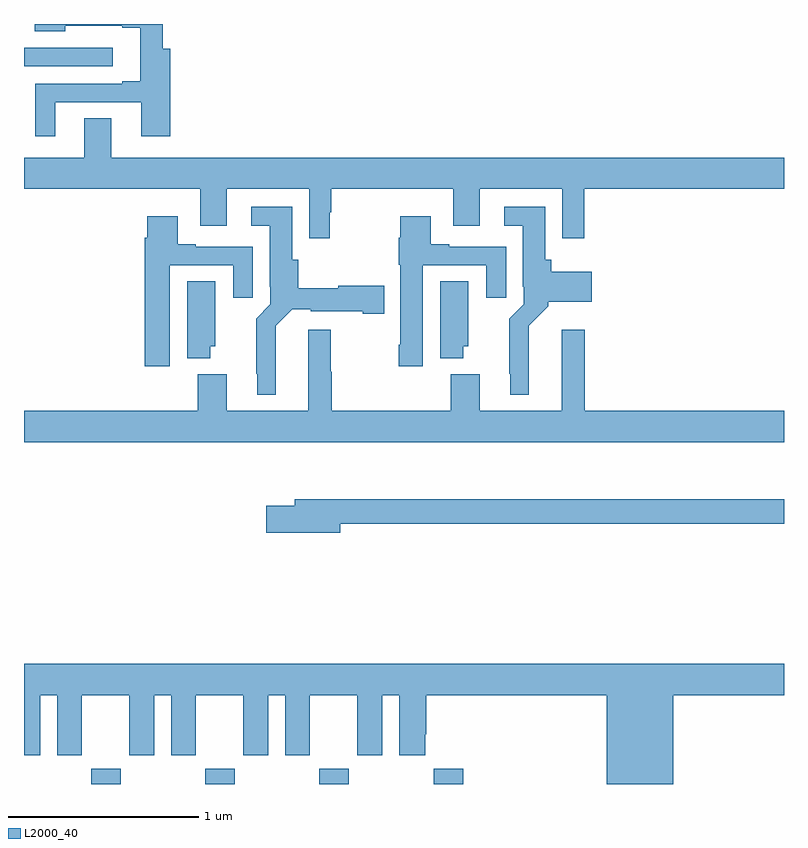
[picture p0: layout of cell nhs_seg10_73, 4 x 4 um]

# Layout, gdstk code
import gdstk
lib = gdstk.Library(unit=1e-6, precision=1e-09)
def R(c, l, rs):  # rectangles x0, y0, x1, y1
    for r in rs: c.add(gdstk.rectangle(r[:2], r[2:], *l))
def A(c, l, x, y, w, h, nx, ny, dx, dy):  # array of equal rectangles
    R(c, l, [(x+i*dx, y+j*dy, x+i*dx+w, y+j*dy+h) for i in range(nx) for j in range(ny)])
def P(c, l, *ps):  # polygons
    for p in ps: c.add(gdstk.Polygon(p, *l))
L2000_40 = (2000, 40)

nhs_seg10_73 = lib.new_cell('nhs_seg10_73')
A(nhs_seg10_73, L2000_40, 113.353, 1314.5, 0.155, 0.08, 3, 1, 0.6, 0)
R(nhs_seg10_73, L2000_40, [(115.157,1314.5,115.313,1314.58), (113,1318.278,113.467,1318.374)])
P(nhs_seg10_73, L2000_40, [(113.164,1318.089),(113.618,1318.089),(113.618,1317.909),(113.771,1317.909),(113.771,1318.369),(113.731,1318.369),(113.731,1318.5),(113.057,1318.5),(113.057,1318.463),(113.217,1318.463),(113.217,1318.491),(113.516,1318.491),(113.516,1318.479),(113.612,1318.479),(113.612,1318.198),(113.516,1318.198),(113.516,1318.185),(113.06,1318.185),(113.06,1317.909),(113.164,1317.909)],
  [(114.61,1317.51),(114.617,1317.51),(114.617,1317.632),(115.259,1317.632),(115.259,1317.438),(115.399,1317.438),(115.399,1317.632),(115.833,1317.632),(115.833,1317.372),(115.949,1317.372),(115.949,1317.632),(117,1317.632),(117,1317.796),(113.458,1317.796),(113.458,1318.004),(113.318,1318.004),(113.318,1317.796),(113,1317.796),(113,1317.632),(113.927,1317.632),(113.927,1317.438),(114.067,1317.438),(114.067,1317.632),(114.501,1317.632),(114.501,1317.372),(114.61,1317.372)],
  [(114.325,1316.912),(114.411,1316.999),(114.51,1316.999),(114.51,1316.987),(114.782,1316.987),(114.782,1316.975),(114.895,1316.975),(114.895,1317.122),(114.654,1317.122),(114.654,1317.109),(114.443,1317.109),(114.443,1317.258),(114.412,1317.258),(114.412,1317.538),(114.195,1317.538),(114.195,1317.437),(114.293,1317.437),(114.293,1317.118),(114.297,1317.118),(114.297,1317.024),(114.223,1316.95),(114.223,1316.659),(114.227,1316.659),(114.227,1316.549),(114.325,1316.549)],
  [(115.657,1316.912),(115.758,1317.014),(115.758,1317.038),(115.987,1317.038),(115.987,1317.196),(115.775,1317.196),(115.775,1317.258),(115.744,1317.258),(115.744,1317.538),(115.527,1317.538),(115.527,1317.437),(115.625,1317.437),(115.625,1317.118),(115.629,1317.118),(115.629,1317.024),(115.555,1316.95),(115.555,1316.659),(115.559,1316.659),(115.559,1316.549),(115.657,1316.549)],
  [(113.767,1317.231),(114.101,1317.231),(114.101,1317.06),(114.205,1317.06),(114.205,1317.327),(113.905,1317.327),(113.905,1317.34),(113.809,1317.34),(113.809,1317.487),(113.648,1317.487),(113.648,1317.374),(113.636,1317.374),(113.636,1316.7),(113.767,1316.7)],
  [(115.099,1317.231),(115.433,1317.231),(115.433,1317.06),(115.537,1317.06),(115.537,1317.327),(115.237,1317.327),(115.237,1317.34),(115.141,1317.34),(115.141,1317.487),(114.98,1317.487),(114.98,1317.374),(114.973,1317.374),(114.973,1317.234),(114.98,1317.234),(114.98,1316.812),(114.973,1316.812),(114.973,1316.7),(115.099,1316.7)],
  [(113.98,1316.805),(114.007,1316.805),(114.007,1317.146),(113.858,1317.146),(113.858,1316.741),(113.98,1316.741)],
  [(115.312,1316.805),(115.339,1316.805),(115.339,1317.146),(115.19,1317.146),(115.19,1316.741),(115.312,1316.741)],
  [(117,1316.464),(115.952,1316.464),(115.952,1316.89),(115.829,1316.89),(115.829,1316.464),(115.399,1316.464),(115.399,1316.656),(115.247,1316.656),(115.247,1316.464),(114.62,1316.464),(114.62,1316.669),(114.615,1316.669),(114.615,1316.89),(114.497,1316.89),(114.497,1316.464),(114.067,1316.464),(114.067,1316.656),(113.915,1316.656),(113.915,1316.464),(113,1316.464),(113,1316.3),(117,1316.3)],
  [(114.664,1315.87),(117,1315.87),(117,1315.999),(114.425,1315.999),(114.425,1315.965),(114.276,1315.965),(114.276,1315.823),(114.664,1315.823)],
  [(116.416,1314.968),(117,1314.968),(117,1315.132),(113,1315.132),(113,1314.651),(113.086,1314.651),(113.086,1314.968),(113.174,1314.968),(113.174,1314.651),(113.305,1314.651),(113.305,1314.968),(113.555,1314.968),(113.555,1314.651),(113.686,1314.651),(113.686,1314.968),(113.774,1314.968),(113.774,1314.651),(113.905,1314.651),(113.905,1314.968),(114.155,1314.968),(114.155,1314.651),(114.286,1314.651),(114.286,1314.968),(114.374,1314.968),(114.374,1314.651),(114.505,1314.651),(114.505,1314.968),(114.755,1314.968),(114.755,1314.651),(114.886,1314.651),(114.886,1314.968),(114.974,1314.968),(114.974,1314.651),(115.111,1314.651),(115.111,1314.763),(115.118,1314.763),(115.118,1314.968),(116.066,1314.968),(116.066,1314.5),(116.416,1314.5)])

lib.write_gds('nhs_seg10_73.gds')
